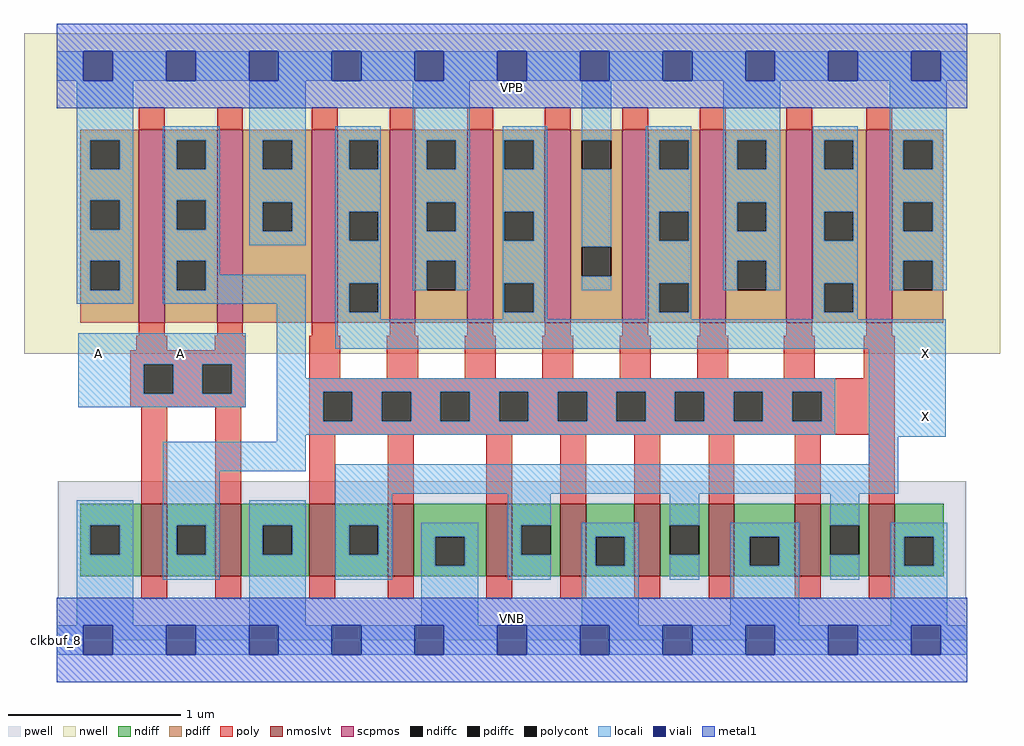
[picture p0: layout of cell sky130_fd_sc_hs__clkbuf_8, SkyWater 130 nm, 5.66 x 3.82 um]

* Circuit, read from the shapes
.subckt sky130_fd_sc_hs__clkbuf_8 A VGND VNB VPB VPWR X
XM1 n1 A VGND VNB sky130_fd_pr__nfet_01v8_lvt w=0.42 l=0.15 m=2
XM2 X n1 VGND VNB sky130_fd_pr__nfet_01v8_lvt w=0.42 l=0.15 m=8
XM3 n1 A VPWR VPB sky130_fd_pr__pfet_01v8 w=1.12 l=0.15 m=2
XM4 X n1 VPWR VPB sky130_fd_pr__pfet_01v8 w=1.12 l=0.15 m=8
.ends

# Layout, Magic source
magic
tech sky130A
magscale 1 2
<< nwell >>
rect -38 332 1094 704
<< pwell >>
rect 1 49 1055 184
rect 0 0 1056 49
<< scpmos >>
rect 95 368 125 592
rect 186 368 216 592
rect 296 368 326 592
rect 386 368 416 592
rect 476 368 506 592
rect 566 368 596 592
rect 656 368 686 592
rect 746 368 776 592
rect 846 368 876 592
rect 939 368 969 592
<< nmoslvt >>
rect 98 74 128 158
rect 184 74 214 158
rect 293 74 323 158
rect 384 74 414 158
rect 498 74 528 158
rect 584 74 614 158
rect 670 74 700 158
rect 756 74 786 158
rect 856 74 886 158
rect 942 74 972 158
<< ndiff >>
rect 27 133 98 158
rect 27 99 39 133
rect 73 99 98 133
rect 27 74 98 99
rect 128 133 184 158
rect 128 99 139 133
rect 173 99 184 133
rect 128 74 184 99
rect 214 133 293 158
rect 214 99 239 133
rect 273 99 293 133
rect 214 74 293 99
rect 323 133 384 158
rect 323 99 339 133
rect 373 99 384 133
rect 323 74 384 99
rect 414 120 498 158
rect 414 86 439 120
rect 473 86 498 120
rect 414 74 498 86
rect 528 133 584 158
rect 528 99 539 133
rect 573 99 584 133
rect 528 74 584 99
rect 614 120 670 158
rect 614 86 625 120
rect 659 86 670 120
rect 614 74 670 86
rect 700 133 756 158
rect 700 99 711 133
rect 745 99 756 133
rect 700 74 756 99
rect 786 120 856 158
rect 786 86 804 120
rect 838 86 856 120
rect 786 74 856 86
rect 886 133 942 158
rect 886 99 897 133
rect 931 99 942 133
rect 886 74 942 99
rect 972 120 1029 158
rect 972 86 983 120
rect 1017 86 1029 120
rect 972 74 1029 86
<< pdiff >>
rect 27 580 95 592
rect 27 546 39 580
rect 73 546 95 580
rect 27 510 95 546
rect 27 476 39 510
rect 73 476 95 510
rect 27 440 95 476
rect 27 406 39 440
rect 73 406 95 440
rect 27 368 95 406
rect 125 580 186 592
rect 125 546 139 580
rect 173 546 186 580
rect 125 510 186 546
rect 125 476 139 510
rect 173 476 186 510
rect 125 440 186 476
rect 125 406 139 440
rect 173 406 186 440
rect 125 368 186 406
rect 216 580 296 592
rect 216 546 239 580
rect 273 546 296 580
rect 216 508 296 546
rect 216 474 239 508
rect 273 474 296 508
rect 216 368 296 474
rect 326 580 386 592
rect 326 546 339 580
rect 373 546 386 580
rect 326 497 386 546
rect 326 463 339 497
rect 373 463 386 497
rect 326 414 386 463
rect 326 380 339 414
rect 373 380 386 414
rect 326 368 386 380
rect 416 580 476 592
rect 416 546 429 580
rect 463 546 476 580
rect 416 508 476 546
rect 416 474 429 508
rect 463 474 476 508
rect 416 440 476 474
rect 416 406 429 440
rect 463 406 476 440
rect 416 368 476 406
rect 506 580 566 592
rect 506 546 519 580
rect 553 546 566 580
rect 506 497 566 546
rect 506 463 519 497
rect 553 463 566 497
rect 506 414 566 463
rect 506 380 519 414
rect 553 380 566 414
rect 506 368 566 380
rect 596 580 656 592
rect 596 546 609 580
rect 643 546 656 580
rect 596 456 656 546
rect 596 422 609 456
rect 643 422 656 456
rect 596 368 656 422
rect 686 580 746 592
rect 686 546 699 580
rect 733 546 746 580
rect 686 497 746 546
rect 686 463 699 497
rect 733 463 746 497
rect 686 414 746 463
rect 686 380 699 414
rect 733 380 746 414
rect 686 368 746 380
rect 776 580 846 592
rect 776 546 789 580
rect 823 546 846 580
rect 776 508 846 546
rect 776 474 789 508
rect 823 474 846 508
rect 776 440 846 474
rect 776 406 789 440
rect 823 406 846 440
rect 776 368 846 406
rect 876 580 939 592
rect 876 546 890 580
rect 924 546 939 580
rect 876 497 939 546
rect 876 463 890 497
rect 924 463 939 497
rect 876 414 939 463
rect 876 380 890 414
rect 924 380 939 414
rect 876 368 939 380
rect 969 580 1028 592
rect 969 546 982 580
rect 1016 546 1028 580
rect 969 508 1028 546
rect 969 474 982 508
rect 1016 474 1028 508
rect 969 440 1028 474
rect 969 406 982 440
rect 1016 406 1028 440
rect 969 368 1028 406
<< ndiffc >>
rect 39 99 73 133
rect 139 99 173 133
rect 239 99 273 133
rect 339 99 373 133
rect 439 86 473 120
rect 539 99 573 133
rect 625 86 659 120
rect 711 99 745 133
rect 804 86 838 120
rect 897 99 931 133
rect 983 86 1017 120
<< pdiffc >>
rect 39 546 73 580
rect 39 476 73 510
rect 39 406 73 440
rect 139 546 173 580
rect 139 476 173 510
rect 139 406 173 440
rect 239 546 273 580
rect 239 474 273 508
rect 339 546 373 580
rect 339 463 373 497
rect 339 380 373 414
rect 429 546 463 580
rect 429 474 463 508
rect 429 406 463 440
rect 519 546 553 580
rect 519 463 553 497
rect 519 380 553 414
rect 609 546 643 580
rect 609 422 643 456
rect 699 546 733 580
rect 699 463 733 497
rect 699 380 733 414
rect 789 546 823 580
rect 789 474 823 508
rect 789 406 823 440
rect 890 546 924 580
rect 890 463 924 497
rect 890 380 924 414
rect 982 546 1016 580
rect 982 474 1016 508
rect 982 406 1016 440
<< poly >>
rect 95 592 125 618
rect 186 592 216 618
rect 296 592 326 618
rect 386 592 416 618
rect 476 592 506 618
rect 566 592 596 618
rect 656 592 686 618
rect 746 592 776 618
rect 846 592 876 618
rect 939 592 969 618
rect 95 353 125 368
rect 186 353 216 368
rect 296 353 326 368
rect 386 353 416 368
rect 476 353 506 368
rect 566 353 596 368
rect 656 353 686 368
rect 746 353 776 368
rect 846 353 876 368
rect 939 353 969 368
rect 92 336 128 353
rect 183 336 219 353
rect 85 320 219 336
rect 85 286 101 320
rect 135 286 169 320
rect 203 286 219 320
rect 85 270 219 286
rect 293 304 329 353
rect 383 304 419 353
rect 473 304 509 353
rect 563 304 599 353
rect 653 304 689 353
rect 743 304 779 353
rect 843 304 879 353
rect 936 304 972 353
rect 293 288 972 304
rect 98 158 128 270
rect 184 158 214 270
rect 293 254 309 288
rect 343 254 377 288
rect 411 254 445 288
rect 479 254 513 288
rect 547 254 581 288
rect 615 254 649 288
rect 683 254 717 288
rect 751 254 785 288
rect 819 254 853 288
rect 887 254 972 288
rect 293 238 972 254
rect 293 158 323 238
rect 384 158 414 238
rect 498 158 528 238
rect 584 158 614 238
rect 670 158 700 238
rect 756 158 786 238
rect 856 158 886 238
rect 942 158 972 238
rect 98 48 128 74
rect 184 48 214 74
rect 293 48 323 74
rect 384 48 414 74
rect 498 48 528 74
rect 584 48 614 74
rect 670 48 700 74
rect 756 48 786 74
rect 856 48 886 74
rect 942 48 972 74
<< polycont >>
rect 101 286 135 320
rect 169 286 203 320
rect 309 254 343 288
rect 377 254 411 288
rect 445 254 479 288
rect 513 254 547 288
rect 581 254 615 288
rect 649 254 683 288
rect 717 254 751 288
rect 785 254 819 288
rect 853 254 887 288
<< locali >>
rect 0 649 31 683
rect 65 649 127 683
rect 161 649 223 683
rect 257 649 319 683
rect 353 649 415 683
rect 449 649 511 683
rect 545 649 607 683
rect 641 649 703 683
rect 737 649 799 683
rect 833 649 895 683
rect 929 649 991 683
rect 1025 649 1056 683
rect 23 580 89 649
rect 23 546 39 580
rect 73 546 89 580
rect 23 510 89 546
rect 23 476 39 510
rect 73 476 89 510
rect 23 440 89 476
rect 23 406 39 440
rect 73 406 89 440
rect 23 390 89 406
rect 123 580 189 596
rect 123 546 139 580
rect 173 546 189 580
rect 123 510 189 546
rect 123 476 139 510
rect 173 476 189 510
rect 123 440 189 476
rect 223 580 289 649
rect 223 546 239 580
rect 273 546 289 580
rect 223 508 289 546
rect 223 474 239 508
rect 273 474 289 508
rect 223 458 289 474
rect 323 580 376 596
rect 323 546 339 580
rect 373 546 376 580
rect 323 497 376 546
rect 323 463 339 497
rect 373 463 376 497
rect 123 406 139 440
rect 173 424 189 440
rect 173 406 289 424
rect 123 390 289 406
rect 25 320 219 356
rect 25 286 101 320
rect 135 286 169 320
rect 203 286 219 320
rect 25 270 219 286
rect 255 304 289 390
rect 323 414 376 463
rect 323 380 339 414
rect 373 380 376 414
rect 413 580 479 649
rect 413 546 429 580
rect 463 546 479 580
rect 413 508 479 546
rect 413 474 429 508
rect 463 474 479 508
rect 413 440 479 474
rect 413 406 429 440
rect 463 406 479 440
rect 517 580 569 596
rect 517 546 519 580
rect 553 546 569 580
rect 517 497 569 546
rect 517 463 519 497
rect 553 463 569 497
rect 517 414 569 463
rect 323 372 376 380
rect 517 380 519 414
rect 553 380 569 414
rect 609 580 643 649
rect 609 456 643 546
rect 609 406 643 422
rect 683 580 736 596
rect 683 546 699 580
rect 733 546 736 580
rect 683 497 736 546
rect 683 463 699 497
rect 733 463 736 497
rect 683 414 736 463
rect 517 372 569 380
rect 683 380 699 414
rect 733 380 736 414
rect 773 580 839 649
rect 773 546 789 580
rect 823 546 839 580
rect 773 508 839 546
rect 773 474 789 508
rect 823 474 839 508
rect 773 440 839 474
rect 773 406 789 440
rect 823 406 839 440
rect 877 580 929 596
rect 877 546 890 580
rect 924 546 929 580
rect 877 497 929 546
rect 877 463 890 497
rect 924 463 929 497
rect 877 414 929 463
rect 683 372 736 380
rect 877 380 890 414
rect 924 380 929 414
rect 966 580 1032 649
rect 966 546 982 580
rect 1016 546 1032 580
rect 966 508 1032 546
rect 966 474 982 508
rect 1016 474 1032 508
rect 966 440 1032 474
rect 966 406 982 440
rect 1016 406 1032 440
rect 877 372 929 380
rect 323 338 1031 372
rect 255 288 903 304
rect 255 254 309 288
rect 343 254 377 288
rect 411 254 445 288
rect 479 254 513 288
rect 547 254 581 288
rect 615 254 649 288
rect 683 254 717 288
rect 751 254 785 288
rect 819 254 853 288
rect 887 254 903 288
rect 255 238 903 254
rect 255 230 289 238
rect 123 196 289 230
rect 942 236 1031 338
rect 942 204 976 236
rect 23 133 89 162
rect 23 99 39 133
rect 73 99 89 133
rect 23 17 89 99
rect 123 133 189 196
rect 323 170 976 204
rect 123 99 139 133
rect 173 99 189 133
rect 123 70 189 99
rect 223 133 289 162
rect 223 99 239 133
rect 273 99 289 133
rect 223 17 289 99
rect 323 133 389 170
rect 323 99 339 133
rect 373 99 389 133
rect 323 70 389 99
rect 423 120 489 136
rect 423 86 439 120
rect 473 86 489 120
rect 423 17 489 86
rect 523 133 573 170
rect 523 99 539 133
rect 523 70 573 99
rect 609 120 675 136
rect 609 86 625 120
rect 659 86 675 120
rect 609 17 675 86
rect 711 133 745 170
rect 711 70 745 99
rect 781 120 861 136
rect 781 86 804 120
rect 838 86 861 120
rect 781 17 861 86
rect 897 133 931 170
rect 897 70 931 99
rect 967 120 1033 136
rect 967 86 983 120
rect 1017 86 1033 120
rect 967 17 1033 86
rect 0 -17 31 17
rect 65 -17 127 17
rect 161 -17 223 17
rect 257 -17 319 17
rect 353 -17 415 17
rect 449 -17 511 17
rect 545 -17 607 17
rect 641 -17 703 17
rect 737 -17 799 17
rect 833 -17 895 17
rect 929 -17 991 17
rect 1025 -17 1056 17
<< viali >>
rect 31 649 65 683
rect 127 649 161 683
rect 223 649 257 683
rect 319 649 353 683
rect 415 649 449 683
rect 511 649 545 683
rect 607 649 641 683
rect 703 649 737 683
rect 799 649 833 683
rect 895 649 929 683
rect 991 649 1025 683
rect 31 -17 65 17
rect 127 -17 161 17
rect 223 -17 257 17
rect 319 -17 353 17
rect 415 -17 449 17
rect 511 -17 545 17
rect 607 -17 641 17
rect 703 -17 737 17
rect 799 -17 833 17
rect 895 -17 929 17
rect 991 -17 1025 17
<< metal1 >>
rect 0 683 1056 715
rect 0 649 31 683
rect 65 649 127 683
rect 161 649 223 683
rect 257 649 319 683
rect 353 649 415 683
rect 449 649 511 683
rect 545 649 607 683
rect 641 649 703 683
rect 737 649 799 683
rect 833 649 895 683
rect 929 649 991 683
rect 1025 649 1056 683
rect 0 617 1056 649
rect 0 17 1056 49
rect 0 -17 31 17
rect 65 -17 127 17
rect 161 -17 223 17
rect 257 -17 319 17
rect 353 -17 415 17
rect 449 -17 511 17
rect 545 -17 607 17
rect 641 -17 703 17
rect 737 -17 799 17
rect 833 -17 895 17
rect 929 -17 991 17
rect 1025 -17 1056 17
rect 0 -49 1056 -17
<< labels >>
rlabel comment s 0 0 0 0 4 clkbuf_8
flabel pwell s 0 0 1056 49 0 FreeSans 200 0 0 0 VNB
port 3 nsew ground bidirectional
flabel nwell s 0 617 1056 666 0 FreeSans 200 0 0 0 VPB
port 4 nsew power bidirectional
flabel metal1 s 0 617 1056 666 0 FreeSans 340 0 0 0 VPWR
port 5 nsew power bidirectional
flabel metal1 s 0 0 1056 49 0 FreeSans 340 0 0 0 VGND
port 2 nsew ground bidirectional
flabel locali s 991 242 1025 276 0 FreeSans 340 0 0 0 X
port 6 nsew signal output
flabel locali s 991 316 1025 350 0 FreeSans 340 0 0 0 X
port 6 nsew signal output
flabel locali s 31 316 65 350 0 FreeSans 340 0 0 0 A
port 1 nsew signal input
flabel locali s 127 316 161 350 0 FreeSans 340 0 0 0 A
port 1 nsew signal input
<< properties >>
string LEFsite unit
string LEFclass CORE
string FIXED_BBOX 0 0 1056 666
string GDS_FILE $PDKPATH/libs.ref/sky130_fd_sc_hs/gds/sky130_fd_sc_hs.gds
string LEFsymmetry X Y
string GDS_END 813630
string GDS_START 804888
<< end >>
